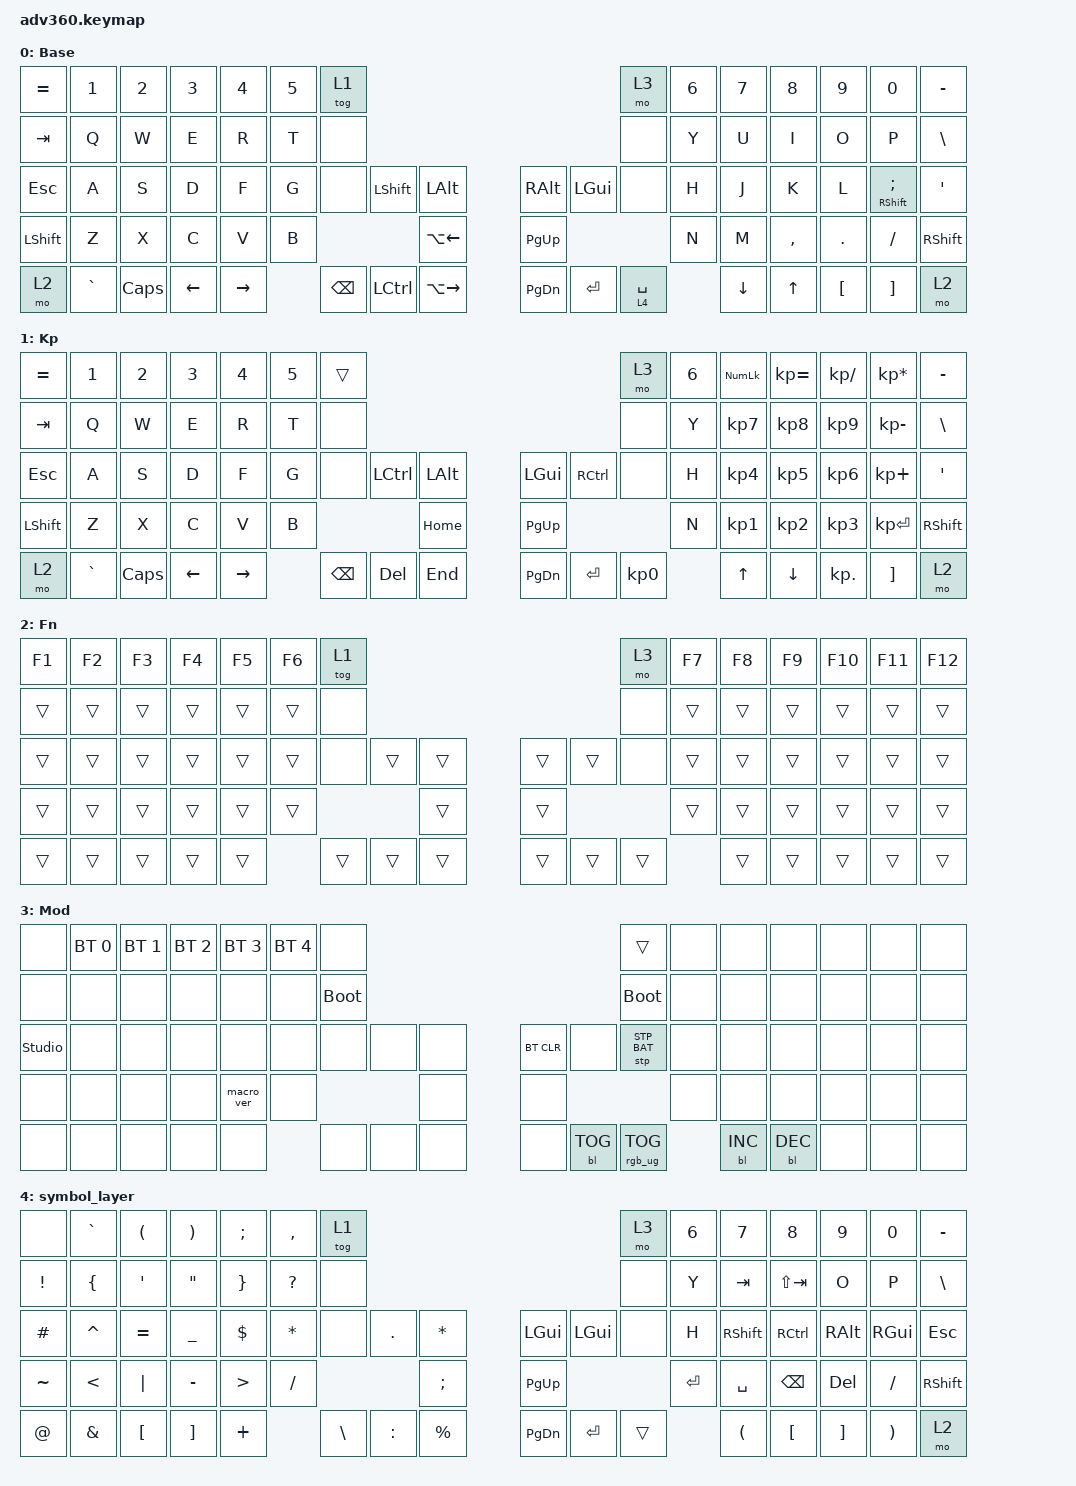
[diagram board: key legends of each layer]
#include <dt-bindings/zmk/stp.h>
#include <behaviors.dtsi>
#include <dt-bindings/zmk/backlight.h>
#include <dt-bindings/zmk/bt.h>
#include <dt-bindings/zmk/keys.h>
#include <dt-bindings/zmk/rgb.h>

/ {
    behaviors {
        #include "macros.dtsi"
      #include "version.dtsi"

        hm: homerow_mods {
            compatible = "zmk,behavior-hold-tap";
            label = "HOMEROW_MODS";
            #binding-cells = <2>;
            tapping-term-ms = <200>;
            quick_tap_ms = <175>;
            flavor = "tap-preferred";
            bindings = <&kp>, <&kp>;
        };

        symbol_layer: symbol_layer {
            compatible = "zmk,behavior-hold-tap";
            label = "SYMBOL_LAYER";
            bindings = <&mo>, <&kp>;

            #binding-cells = <2>;
            tapping-term-ms = <200>;
            flavor = "tap-preferred";
        };
    };

    keymap {
        compatible = "zmk,keymap";

        default_layer {
            display-name = "Base";
            bindings = <
&kp EQUAL  &kp N1     &kp N2    &kp N3    &kp N4     &kp N5  &tog 1                                                                      &mo 3                  &kp N6  &kp N7    &kp N8        &kp N9    &kp N0                     &kp MINUS
&kp TAB    &kp Q      &kp W     &kp E     &kp R      &kp T   &none                                                                       &none                  &kp Y   &kp U     &kp I         &kp O     &kp P                      &kp BSLH
&kp ESC    &kp A      &kp S     &kp D     &kp F      &kp G   &none     &kp LEFT_SHIFT  &kp LALT                &kp RIGHT_ALT  &kp LGUI   &none                  &kp H   &kp J     &kp K         &kp L     &hm RIGHT_SHIFT SEMICOLON  &kp SQT
&kp LSHFT  &kp Z      &kp X     &kp C     &kp V      &kp B                             &kp LA(LEFT_ARROW)      &kp PG_UP                                        &kp N   &kp M     &kp COMMA     &kp DOT   &kp FSLH                   &kp RSHFT
&mo 2      &kp GRAVE  &kp CAPS  &kp LEFT  &kp RIGHT          &kp BSPC  &kp LCTRL       &kp LA(RIGHT)           &kp PG_DN      &kp ENTER  &symbol_layer 4 SPACE          &kp DOWN  &kp UP_ARROW  &kp LBKT  &kp RBKT                   &mo 2
            >;
        };

        keypad {
            display-name = "Kp";
            bindings = <
&kp EQUAL  &kp N1     &kp N2    &kp N3    &kp N4     &kp N5  &trans                                                   &mo 3      &kp N6  &kp KP_NUM  &kp KP_EQUAL  &kp KP_DIVIDE  &kp KP_MULTIPLY  &kp MINUS
&kp TAB    &kp Q      &kp W     &kp E     &kp R      &kp T   &none                                                    &none      &kp Y   &kp KP_N7   &kp KP_N8     &kp KP_N9      &kp KP_MINUS     &kp BSLH
&kp ESC    &kp A      &kp S     &kp D     &kp F      &kp G   &none     &kp LCTRL  &kp LALT      &kp LGUI   &kp RCTRL  &none      &kp H   &kp KP_N4   &kp KP_N5     &kp KP_N6      &kp KP_PLUS      &kp SQT
&kp LSHFT  &kp Z      &kp X     &kp C     &kp V      &kp B                        &kp HOME      &kp PG_UP                        &kp N   &kp KP_N1   &kp KP_N2     &kp KP_N3      &kp KP_ENTER     &kp RSHFT
&mo 2      &kp GRAVE  &kp CAPS  &kp LEFT  &kp RIGHT          &kp BSPC  &kp DEL    &kp END       &kp PG_DN  &kp ENTER  &kp KP_N0          &kp UP      &kp DOWN      &kp KP_DOT     &kp RBKT         &mo 2
            >;
        };

        fn {
            display-name = "Fn";
            bindings = <
&kp F1  &kp F2  &kp F3  &kp F4  &kp F5  &kp F6  &tog 1                                      &mo 3   &kp F7  &kp F8  &kp F9  &kp F10  &kp F11  &kp F12
&trans  &trans  &trans  &trans  &trans  &trans  &none                                       &none   &trans  &trans  &trans  &trans   &trans   &trans
&trans  &trans  &trans  &trans  &trans  &trans  &none   &trans  &trans      &trans  &trans  &none   &trans  &trans  &trans  &trans   &trans   &trans
&trans  &trans  &trans  &trans  &trans  &trans                  &trans      &trans                  &trans  &trans  &trans  &trans   &trans   &trans
&trans  &trans  &trans  &trans  &trans          &trans  &trans  &trans      &trans  &trans  &trans          &trans  &trans  &trans   &trans   &trans
            >;
        };

        mod {
            display-name = "Mod";
            bindings = <
&none           &bt BT_SEL 0  &bt BT_SEL 1  &bt BT_SEL 2  &bt BT_SEL 3  &bt BT_SEL 4  &none                                                  &trans           &none  &none       &none       &none  &none  &none
&none           &none         &none         &none         &none         &none         &bootloader                                            &bootloader      &none  &none       &none       &none  &none  &none
&studio_unlock  &none         &none         &none         &none         &none         &none        &none  &none      &bt BT_CLR  &none       &stp STP_BAT     &none  &none       &none       &none  &none  &none
&none           &none         &none         &none         &macro_ver    &none                             &none      &none                                    &none  &none       &none       &none  &none  &none
&none           &none         &none         &none         &none                       &none        &none  &none      &none       &bl BL_TOG  &rgb_ug RGB_TOG         &bl BL_INC  &bl BL_DEC  &none  &none  &none
            >;
        };

        symbol_layer {
            display-name = "symbol_layer";
            bindings = <
&none            &kp GRAVE       &kp LEFT_PARENTHESIS  &kp RIGHT_PARENTHESIS  &kp SEMI         &kp COMMA     &tog 1                                                              &mo 3   &kp N6     &kp N7                &kp N8            &kp N9             &kp N0                 &kp MINUS
&kp EXCLAMATION  &kp LEFT_BRACE  &kp SINGLE_QUOTE      &kp DOUBLE_QUOTES      &kp RIGHT_BRACE  &kp QUESTION  &none                                                               &none   &kp Y      &kp TAB               &kp LS(TAB)       &kp O              &kp P                  &kp BSLH
&kp HASH         &kp CARET       &kp EQUAL             &kp UNDER              &kp DOLLAR       &kp ASTERISK  &none          &kp PERIOD  &kp ASTERISK       &kp LGUI   &kp LGUI   &none   &kp H      &kp RIGHT_SHIFT       &kp RCTRL         &kp RIGHT_ALT      &kp RIGHT_GUI          &kp ESCAPE
&kp TILDE        &kp LESS_THAN   &kp PIPE              &kp MINUS              &kp GT           &kp SLASH                                &kp SEMICOLON      &kp PG_UP                     &kp ENTER  &kp SPACE             &kp BACKSPACE     &kp DEL            &kp FSLH               &kp RSHFT
&kp AT           &kp AMPERSAND   &kp LEFT_BRACKET      &kp RIGHT_BRACKET      &kp PLUS                       &kp BACKSLASH  &kp COLON   &kp PERCENT        &kp PG_DN  &kp ENTER  &trans             &kp LEFT_PARENTHESIS  &kp LEFT_BRACKET  &kp RIGHT_BRACKET  &kp RIGHT_PARENTHESIS  &mo 2
            >;
        };

        extra1 {
            display-name = "Red";
            status = "reserved";
        };

        extra2 {
            display-name = "Purple";
            status = "reserved";
        };

        extra3 {
            display-name = "Cyan";
            status = "reserved";
        };

        extra4 {
            display-name = "Yellow";
            status = "reserved";
        };
    };
};
